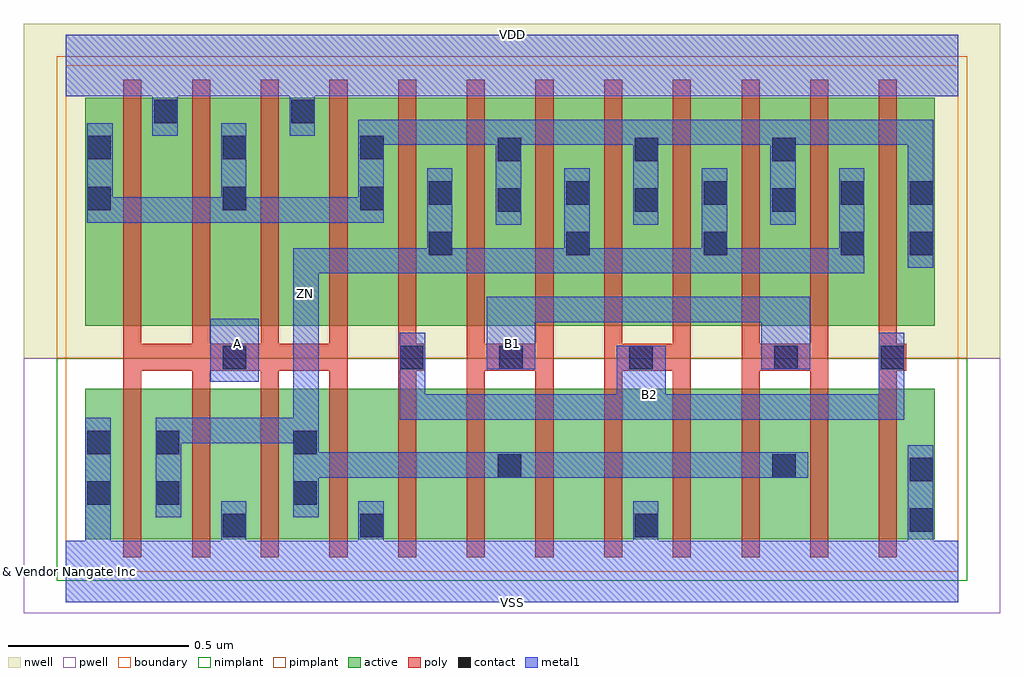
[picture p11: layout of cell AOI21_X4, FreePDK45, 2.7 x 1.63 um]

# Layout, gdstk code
import gdstk
lib = gdstk.Library(unit=1e-6, precision=1e-10)
def R(c, l, rs):  # rectangles x0, y0, x1, y1
    for r in rs: c.add(gdstk.rectangle(r[:2], r[2:], *l))
def A(c, l, x, y, w, h, nx, ny, dx, dy):  # array of equal rectangles
    R(c, l, [(x+i*dx, y+j*dy, x+i*dx+w, y+j*dy+h) for i in range(nx) for j in range(ny)])
def P(c, l, *ps):  # polygons
    for p in ps: c.add(gdstk.Polygon(p, *l))
active = (1, 0)
pwell = (2, 0)
nwell = (3, 0)
nimplant = (4, 0)
pimplant = (5, 0)
poly = (9, 0)
contact = (10, 0)
metal1 = (11, 0)
boundary = (235, 0)

aoi21_x4 = lib.new_cell('AOI21_X4')
R(aoi21_x4, active, [(0.055,0.09,2.405,0.505), (0.055,0.68,2.405,1.31)])
R(aoi21_x4, pwell, [(-0.115,-0.115,2.585,0.59)])
R(aoi21_x4, nwell, [(-0.115,0.59,2.585,1.515)])
R(aoi21_x4, nimplant, [(-0.025,-0.025,2.495,0.59)])
R(aoi21_x4, pimplant, [(-0.025,0.59,2.495,1.425)])
P(aoi21_x4, poly, [(0.16,0.04),(0.16,1.36),(0.21,1.36),(0.21,0.63),(0.35,0.63),(0.35,1.36),(0.4,1.36),(0.4,0.63),(0.54,0.63),(0.54,1.36),(0.59,1.36),(0.59,0.63),(0.73,0.63),(0.73,1.36),(0.78,1.36),(0.78,0.04),(0.73,0.04),(0.73,0.555),(0.59,0.555),(0.59,0.04),(0.54,0.04),(0.54,0.555),(0.4,0.555),(0.4,0.04),(0.35,0.04),(0.35,0.555),(0.21,0.555),(0.21,0.04)],
  [(0.92,0.04),(0.92,1.36),(0.97,1.36),(0.97,0.63),(0.995,0.63),(0.995,0.555),(0.97,0.555),(0.97,0.04)],
  [(1.11,0.04),(1.11,1.36),(1.16,1.36),(1.16,0.63),(1.3,0.63),(1.3,1.36),(1.35,1.36),(1.35,0.04),(1.3,0.04),(1.3,0.555),(1.16,0.555),(1.16,0.04)],
  [(1.49,0.04),(1.49,1.36),(1.54,1.36),(1.54,0.63),(1.68,0.63),(1.68,1.36),(1.73,1.36),(1.73,0.04),(1.68,0.04),(1.68,0.555),(1.54,0.555),(1.54,0.04)],
  [(1.87,0.04),(1.87,1.36),(1.92,1.36),(1.92,0.63),(2.06,0.63),(2.06,1.36),(2.11,1.36),(2.11,0.04),(2.06,0.04),(2.06,0.555),(1.92,0.555),(1.92,0.04)],
  [(2.25,0.04),(2.25,1.36),(2.3,1.36),(2.3,0.63),(2.325,0.63),(2.325,0.555),(2.3,0.555),(2.3,0.04)])
A(aoi21_x4, contact, 1.005, 0.875, 0.065, 0.065, 4, 2, 0.38, 0.14)
A(aoi21_x4, contact, 1.195, 0.995, 0.065, 0.065, 3, 2, 0.38, 0.14)
R(aoi21_x4, contact, [(0.435,0.095,0.5,0.16), (0.815,0.095,0.88,0.16), (1.575,0.095,1.64,0.16), (2.335,0.11,2.4,0.175), (0.06,0.185,0.125,0.25), (0.25,0.185,0.315,0.25), (0.63,0.185,0.695,0.25), (2.335,0.25,2.4,0.315), (1.195,0.26,1.26,0.325), (1.955,0.26,2.02,0.325), (0.06,0.325,0.125,0.39), (0.25,0.325,0.315,0.39), (0.63,0.325,0.695,0.39), (0.435,0.56,0.5,0.625), (0.925,0.56,0.99,0.625), (1.2,0.56,1.265,0.625), (1.56,0.56,1.625,0.625), (1.96,0.56,2.025,0.625), (2.255,0.56,2.32,0.625), (2.335,0.875,2.4,0.94), (0.06,1,0.125,1.065), (0.435,1,0.5,1.065), (0.815,1,0.88,1.065), (2.335,1.015,2.4,1.08), (0.06,1.14,0.125,1.205), (0.435,1.14,0.5,1.205), (0.815,1.14,0.88,1.205), (0.245,1.24,0.31,1.305), (0.625,1.24,0.69,1.305)])
R(aoi21_x4, metal1, [(0.4,0.525,0.535,0.7)])
P(aoi21_x4, metal1, [(1.165,0.56),(1.165,0.76),(2.06,0.76),(2.06,0.56),(1.925,0.56),(1.925,0.69),(1.3,0.69),(1.3,0.56)],
  [(0.25,0.15),(0.25,0.425),(0.63,0.425),(0.63,0.895),(1,0.895),(1,1.115),(1.07,1.115),(1.07,0.895),(1.38,0.895),(1.38,1.115),(1.45,1.115),(1.45,0.895),(1.76,0.895),(1.76,1.115),(1.83,1.115),(1.83,0.895),(2.14,0.895),(2.14,1.115),(2.21,1.115),(2.21,0.825),(0.7,0.825),(0.7,0.33),(2.055,0.33),(2.055,0.26),(0.7,0.26),(0.7,0.15),(0.63,0.15),(0.63,0.355),(0.32,0.355),(0.32,0.15)],
  [(0.925,0.42),(0.925,0.66),(0.995,0.66),(0.995,0.49),(1.525,0.49),(1.525,0.625),(1.66,0.625),(1.66,0.49),(2.25,0.49),(2.25,0.66),(2.32,0.66),(2.32,0.42)],
  [(2.33,0.84),(2.33,1.18),(2.02,1.18),(2.02,0.96),(1.95,0.96),(1.95,1.18),(1.64,1.18),(1.64,0.96),(1.57,0.96),(1.57,1.18),(1.26,1.18),(1.26,0.96),(1.19,0.96),(1.19,1.18),(0.88,1.18),(0.88,0.965),(0.06,0.965),(0.06,1.24),(0.13,1.24),(0.13,1.035),(0.43,1.035),(0.43,1.24),(0.5,1.24),(0.5,1.035),(0.81,1.035),(0.81,1.25),(2.4,1.25),(2.4,0.84)],
  [(0,-0.085),(0,0.085),(0.055,0.085),(0.055,0.425),(0.125,0.425),(0.125,0.085),(0.43,0.085),(0.43,0.195),(0.5,0.195),(0.5,0.085),(0.81,0.085),(0.81,0.195),(0.88,0.195),(0.88,0.085),(1.57,0.085),(1.57,0.195),(1.64,0.195),(1.64,0.085),(2.33,0.085),(2.33,0.35),(2.4,0.35),(2.4,0.085),(2.47,0.085),(2.47,-0.085)],
  [(0.24,1.205),(0.24,1.315),(0,1.315),(0,1.485),(2.47,1.485),(2.47,1.315),(0.69,1.315),(0.69,1.205),(0.62,1.205),(0.62,1.315),(0.31,1.315),(0.31,1.205)])
R(aoi21_x4, boundary, [(0,0,2.47,1.4)])
aoi21_x4.add(gdstk.Label('A', (0.475,0.63), layer=11, texttype=0))
aoi21_x4.add(gdstk.Label('B1', (1.235,0.63), layer=11, texttype=0))
aoi21_x4.add(gdstk.Label('B2', (1.615,0.49), layer=11, texttype=0))
aoi21_x4.add(gdstk.Label('VDD', (1.235,1.485), layer=11, texttype=0))
aoi21_x4.add(gdstk.Label('VSS', (1.235,-0.085), layer=11, texttype=0))
aoi21_x4.add(gdstk.Label('ZN', (0.665,0.77), layer=11, texttype=0))
aoi21_x4.add(gdstk.Label('& Vendor Nangate Inc', (0,0), layer=63, texttype=63))
aoi21_x4.add(gdstk.Label('& Product Open Cell Library', (0,0), layer=63, texttype=63))
aoi21_x4.add(gdstk.Label('& Version 2010_12', (0,0), layer=63, texttype=63))
aoi21_x4.add(gdstk.Label('& Instance AOI21_X4', (0,0), layer=63, texttype=63))

lib.write_gds('AOI21_X4.gds')
